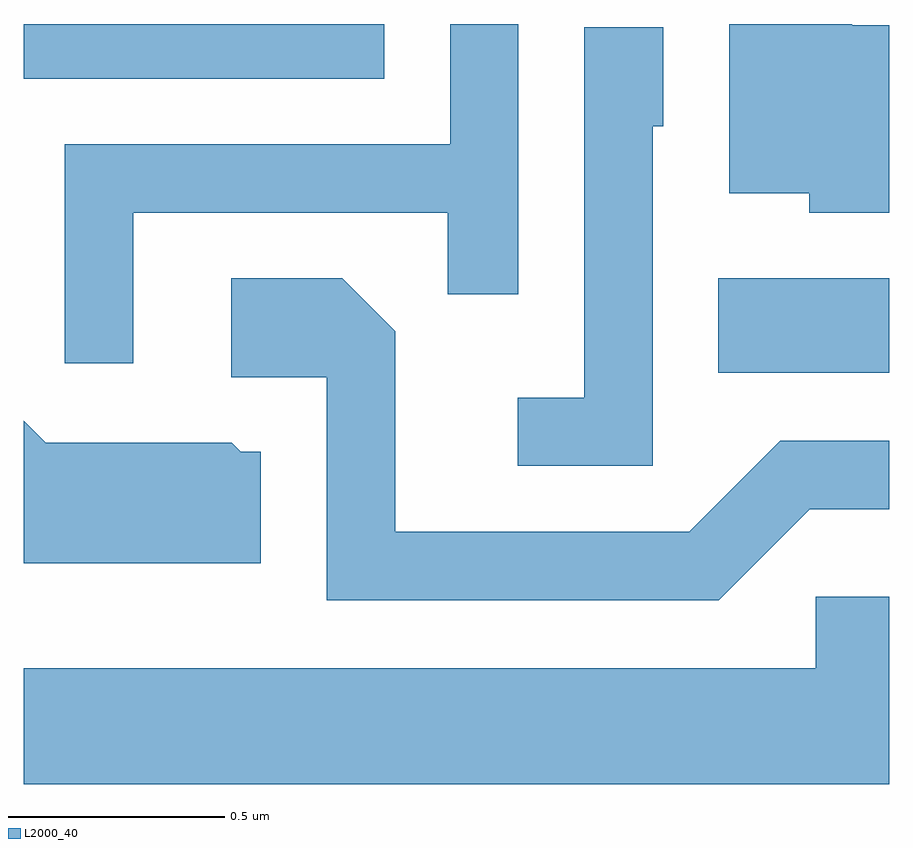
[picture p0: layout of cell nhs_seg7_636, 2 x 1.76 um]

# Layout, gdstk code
import gdstk
lib = gdstk.Library(unit=1e-6, precision=1e-09)
def R(c, l, rs):  # rectangles x0, y0, x1, y1
    for r in rs: c.add(gdstk.rectangle(r[:2], r[2:], *l))
def P(c, l, *ps):  # polygons
    for p in ps: c.add(gdstk.Polygon(p, *l))
L2000_40 = (2000, 40)

nhs_seg7_636 = lib.new_cell('nhs_seg7_636')
R(nhs_seg7_636, L2000_40, [(191.216,1757.446,191.611,1757.664), (189.611,1758.126,190.444,1758.252)])
P(nhs_seg7_636, L2000_40, [(189.864,1757.816),(190.591,1757.816),(190.591,1757.628),(190.754,1757.628),(190.754,1758.252),(190.596,1758.252),(190.596,1757.974),(189.706,1757.974),(189.706,1757.468),(189.864,1757.468)],
  [(191.611,1758.249),(191.527,1758.249),(191.524,1758.252),(191.241,1758.252),(191.241,1757.861),(191.426,1757.861),(191.426,1757.816),(191.611,1757.816)],
  [(191.064,1758.016),(191.089,1758.016),(191.089,1758.244),(190.906,1758.244),(190.906,1757.389),(190.753,1757.389),(190.753,1757.231),(191.064,1757.231)],
  [(191.427,1757.131),(191.611,1757.131),(191.611,1757.289),(191.359,1757.289),(191.149,1757.079),(190.469,1757.079),(190.469,1757.542),(190.347,1757.664),(190.091,1757.664),(190.091,1757.436),(190.311,1757.436),(190.311,1756.921),(191.217,1756.921)],
  [(190.159,1757.264),(190.112,1757.264),(190.092,1757.284),(189.662,1757.284),(189.611,1757.335),(189.611,1757.006),(190.159,1757.006)],
  [(191.611,1756.929),(191.441,1756.929),(191.441,1756.764),(189.611,1756.764),(189.611,1756.496),(191.611,1756.496)])

lib.write_gds('nhs_seg7_636.gds')
